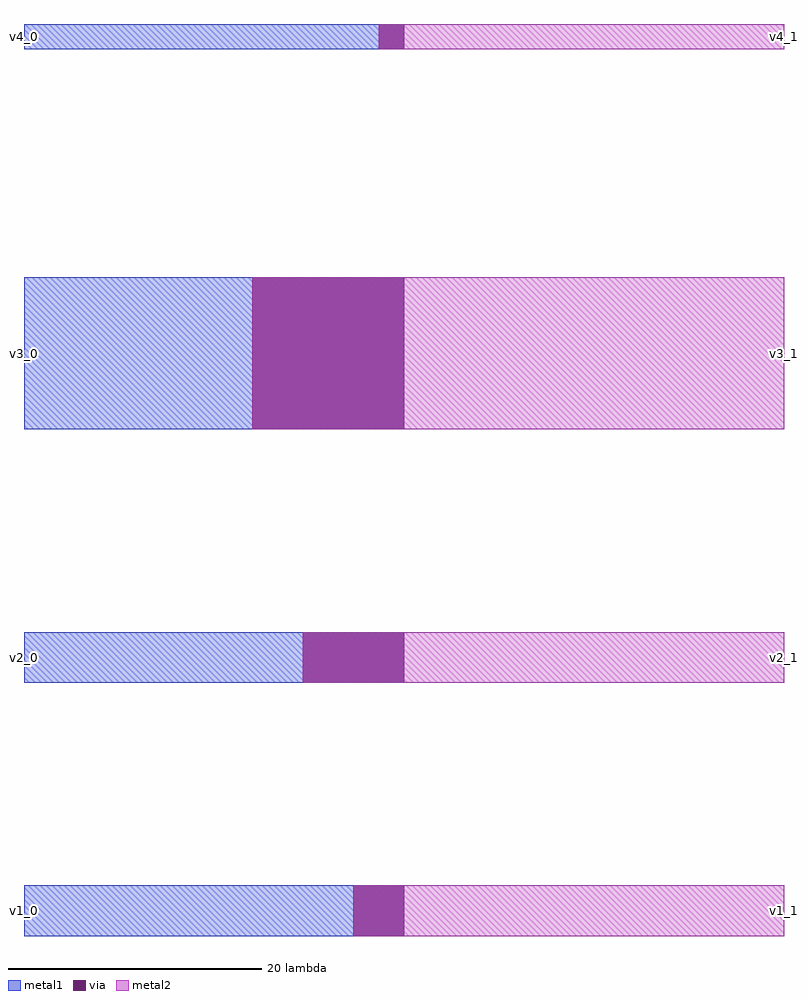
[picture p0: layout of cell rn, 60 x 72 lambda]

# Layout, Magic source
magic
tech exttest
<< metal1 >>
rect 0 0 30 4
rect 0 20 30 24
rect 0 40 30 52
rect 0 70 30 72
<< metal2 >>
rect 26 0 60 4
rect 22 20 60 24
rect 18 40 60 52
rect 28 70 60 72
<< via >>
rect 26 0 30 4
rect 22 20 30 24
rect 18 40 30 52
rect 28 70 30 72
<< labels >>
rlabel metal1 0 0 0 4 0 v1_0
port 1 nsew
rlabel metal2 60 0 60 4 0 v1_1
port 2 nsew
rlabel metal1 0 20 0 24 0 v2_0
port 3 nsew
rlabel metal2 60 20 60 24 0 v2_1
port 4 nsew
rlabel metal1 0 40 0 52 0 v3_0
port 5 nsew
rlabel metal2 60 40 60 52 0 v3_1
port 6 nsew
rlabel metal1 0 70 0 72 0 v4_0
port 7 nsew
rlabel metal2 60 70 60 72 0 v4_1
port 8 nsew
<< end >>
